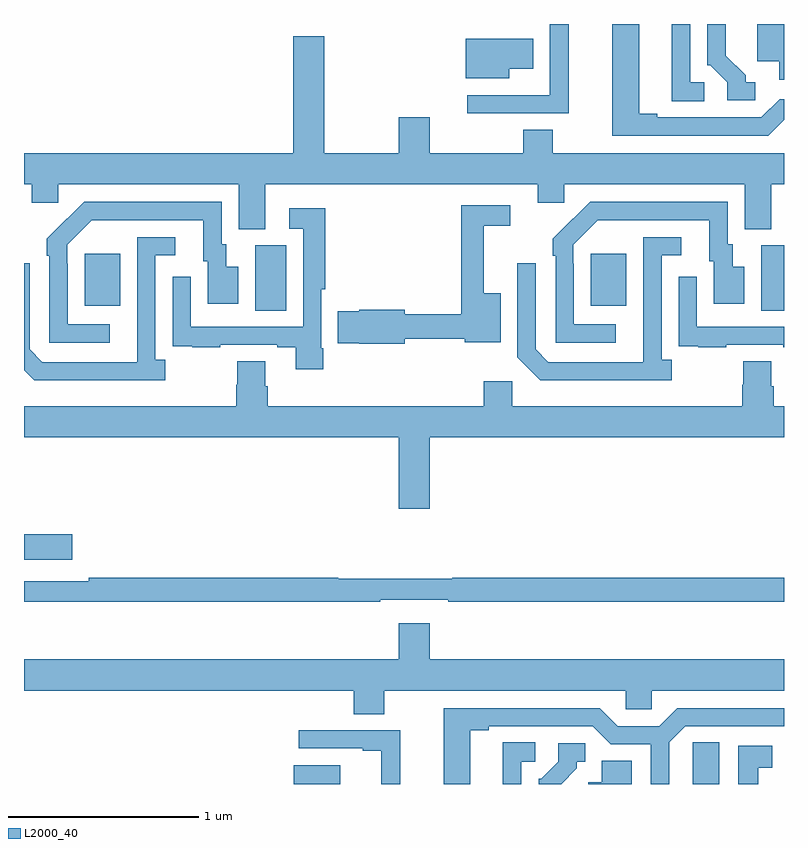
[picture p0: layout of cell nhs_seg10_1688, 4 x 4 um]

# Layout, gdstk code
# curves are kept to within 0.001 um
import gdstk
lib = gdstk.Library(unit=1e-6, precision=1e-09)
def R(c, l, rs):  # rectangles x0, y0, x1, y1
    for r in rs: c.add(gdstk.rectangle(r[:2], r[2:], *l))
def P(c, l, *ps):  # polygons
    for p in ps: c.add(gdstk.Polygon(p, *l))
L2000_40 = (2000, 40)

nhs_seg10_1688 = lib.new_cell('nhs_seg10_1688')
R(nhs_seg10_1688, L2000_40, [(200.42,1290.5,200.665,1290.598), (199,1291.679,199.255,1291.814), (200.216,1292.992,200.38,1293.336), (202.88,1292.992,203,1293.336), (199.319,1293.017,199.507,1293.292), (201.983,1293.017,202.171,1293.292)])
P(nhs_seg10_1688, L2000_40, [(201.867,1294.5),(201.768,1294.5),(201.768,1294.126),(201.767,1294.126),(201.767,1294.125),(201.333,1294.125),(201.333,1294.029),(201.867,1294.029)],
  [(202.579,1294.194),(202.506,1294.194),(202.506,1294.5),(202.409,1294.5),(202.409,1294.093),(202.579,1294.093)],
  [(202.849,1294.194),(202.798,1294.194),(202.798,1294.229),(202.693,1294.334),(202.693,1294.5),(202.596,1294.5),(202.596,1294.284),(202.611,1294.284),(202.701,1294.194),(202.701,1294.098),(202.849,1294.098)],
  [(203,1293.995),(203,1294.104),(202.977,1294.104),(202.881,1294.008),(202.333,1294.008),(202.333,1294.028),(202.237,1294.028),(202.237,1294.5),(202.097,1294.5),(202.097,1293.912),(202.917,1293.912)],
  [(203,1294.5),(202.859,1294.5),(202.859,1294.304),(202.976,1294.304),(202.976,1294.206),(203,1294.206)],
  [(200.269,1293.656),(201.704,1293.656),(201.704,1293.558),(201.843,1293.558),(201.843,1293.656),(202.793,1293.656),(202.793,1293.421),(202.933,1293.421),(202.933,1293.656),(203,1293.656),(203,1293.82),(201.783,1293.82),(201.783,1293.944),(201.628,1293.944),(201.628,1293.82),(201.136,1293.82),(201.136,1294.009),(200.972,1294.009),(200.972,1293.82),(200.581,1293.82),(200.581,1294.435),(200.417,1294.435),(200.417,1293.82),(199,1293.82),(199,1293.656),(199.04,1293.656),(199.04,1293.558),(199.179,1293.558),(199.179,1293.656),(200.129,1293.656),(200.129,1293.421),(200.269,1293.421)],
  [(201.553,1294.265),(201.679,1294.265),(201.679,1294.423),(201.326,1294.423),(201.326,1294.214),(201.553,1294.214)],
  [(199.45,1292.919),(199.23,1292.919),(199.23,1293.239),(199.227,1293.239),(199.227,1293.339),(199.356,1293.468),(199.943,1293.468),(199.943,1293.252),(199.967,1293.252),(199.967,1293.027),(200.128,1293.027),(200.128,1293.223),(200.065,1293.223),(200.065,1293.342),(200.04,1293.342),(200.04,1293.564),(199.316,1293.564),(199.119,1293.369),(199.119,1293.281),(199.134,1293.281),(199.134,1292.823),(199.45,1292.823)],
  [(202.114,1292.919),(201.894,1292.919),(201.894,1293.239),(201.891,1293.239),(201.891,1293.339),(202.02,1293.468),(202.607,1293.468),(202.607,1293.252),(202.631,1293.252),(202.631,1293.027),(202.792,1293.027),(202.792,1293.223),(202.729,1293.223),(202.729,1293.342),(202.704,1293.342),(202.704,1293.564),(201.98,1293.564),(201.783,1293.369),(201.783,1293.281),(201.798,1293.281),(201.798,1292.823),(202.114,1292.823)],
  [(201.004,1292.844),(201.32,1292.844),(201.32,1292.825),(201.508,1292.825),(201.508,1293.082),(201.419,1293.082),(201.419,1293.438),(201.559,1293.438),(201.559,1293.546),(201.301,1293.546),(201.301,1292.972),(201.004,1292.972),(201.004,1292.996),(200.764,1292.996),(200.764,1292.987),(200.652,1292.987),(200.652,1292.82),(200.764,1292.82),(200.764,1292.818),(201.004,1292.818)],
  [(200.575,1292.794),(200.565,1292.794),(200.565,1293.105),(200.585,1293.105),(200.585,1293.529),(200.397,1293.529),(200.397,1293.423),(200.469,1293.423),(200.469,1292.907),(199.878,1292.907),(199.878,1293.169),(199.782,1293.169),(199.782,1292.914),(199.783,1292.914),(199.783,1292.805),(199.885,1292.805),(199.885,1292.799),(200.033,1292.799),(200.033,1292.811),(200.333,1292.811),(200.333,1292.799),(200.429,1292.799),(200.429,1292.682),(200.575,1292.682)],
  [(199.744,1292.734),(199.692,1292.734),(199.692,1293.282),(199.795,1293.282),(199.795,1293.378),(199.596,1293.378),(199.595,1292.721),(199.095,1292.721),(199.029,1292.787),(199.029,1293.241),(199,1293.241),(199,1292.678),(199.054,1292.624),(199.744,1292.624)],
  [(202.408,1292.734),(202.356,1292.734),(202.356,1293.282),(202.459,1293.282),(202.459,1293.378),(202.26,1293.378),(202.259,1292.721),(201.759,1292.721),(201.693,1292.787),(201.693,1293.241),(201.597,1293.241),(201.597,1292.745),(201.718,1292.624),(202.408,1292.624)],
  [(202.697,1292.811),(202.997,1292.811),(202.997,1292.799),(203,1292.799),(203,1292.907),(202.542,1292.907),(202.542,1293.169),(202.446,1293.169),(202.446,1292.914),(202.447,1292.914),(202.447,1292.805),(202.549,1292.805),(202.549,1292.799),(202.697,1292.799)],
  [(201.136,1292.324),(203,1292.324),(203,1292.488),(202.946,1292.488),(202.946,1292.594),(202.933,1292.594),(202.933,1292.726),(202.786,1292.726),(202.786,1292.601),(202.781,1292.601),(202.781,1292.488),(201.57,1292.488),(201.57,1292.62),(201.419,1292.62),(201.419,1292.488),(200.282,1292.488),(200.282,1292.594),(200.269,1292.594),(200.269,1292.726),(200.122,1292.726),(200.122,1292.601),(200.117,1292.601),(200.117,1292.488),(199,1292.488),(199,1292.324),(200.972,1292.324),(200.972,1291.95),(201.136,1291.95)],
  [(200.876,1291.47),(201.232,1291.47),(201.232,1291.458),(203,1291.458),(203,1291.586),(201.255,1291.586),(201.255,1291.579),(200.655,1291.579),(200.655,1291.586),(199.342,1291.586),(199.342,1291.566),(199,1291.566),(199,1291.458),(200.876,1291.458)],
  [(200.895,1290.992),(202.167,1290.992),(202.167,1290.894),(202.305,1290.894),(202.305,1290.992),(203,1290.992),(203,1291.156),(201.136,1291.156),(201.136,1291.345),(200.972,1291.345),(200.972,1291.156),(199,1291.156),(199,1290.992),(200.735,1290.992),(200.735,1290.868),(200.895,1290.868)],
  [(201.349,1290.784),(201.445,1290.784),(201.445,1290.804),(201.993,1290.804),(202.089,1290.708),(202.299,1290.708),(202.299,1290.5),(202.395,1290.5),(202.395,1290.72),(202.479,1290.804),(203,1290.804),(203,1290.9),(202.439,1290.9),(202.343,1290.804),(202.125,1290.804),(202.029,1290.9),(201.209,1290.9),(201.209,1290.5),(201.349,1290.5)],
  [(200.979,1290.783),(200.445,1290.783),(200.445,1290.687),(200.783,1290.687),(200.783,1290.675),(200.879,1290.675),(200.879,1290.5),(200.979,1290.5)],
  [(201.618,1290.618),(201.691,1290.618),(201.691,1290.719),(201.521,1290.719),(201.521,1290.5),(201.618,1290.5)],
  [(202.66,1290.719),(202.521,1290.719),(202.521,1290.611),(202.52,1290.611),(202.52,1290.5),(202.66,1290.5)],
  [(201.91,1290.583),(201.91,1290.618),(201.955,1290.618),(201.955,1290.714),(201.813,1290.714),(201.813,1290.618),(201.723,1290.528),(201.708,1290.528),(201.708,1290.5),(201.827,1290.5)],
  [(202.864,1290.586),(202.939,1290.586),(202.939,1290.702),(202.76,1290.702),(202.76,1290.5),(202.864,1290.5)],
  [(202.198,1290.623),(202.04,1290.623),(202.04,1290.508),(201.971,1290.508),(201.971,1290.5),(202.198,1290.5)])

lib.write_gds('nhs_seg10_1688.gds')
